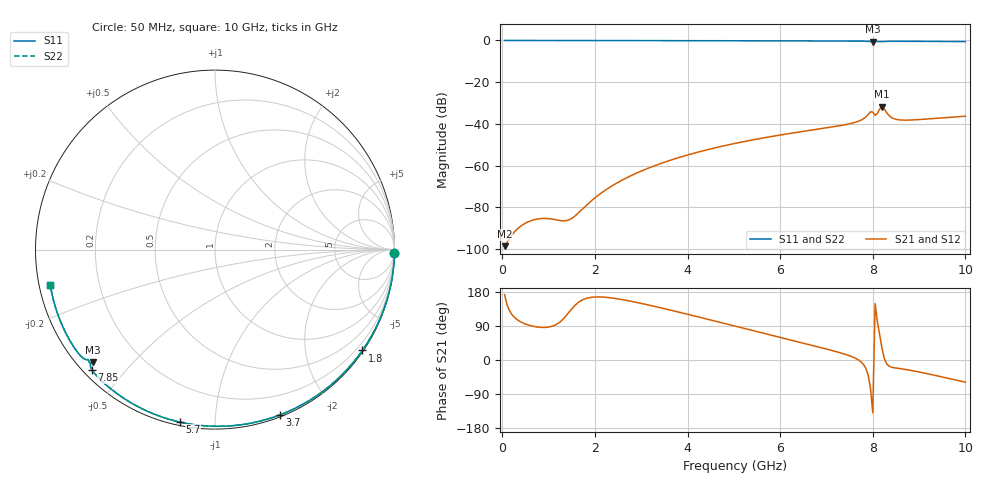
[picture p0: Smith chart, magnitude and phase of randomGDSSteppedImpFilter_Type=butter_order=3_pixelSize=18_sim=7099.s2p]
! freq	dB(S11)	phase(S11)	dB(S12)	phase(S12)
!  dB(S21)	phase(S21)	dB(S22)	phase(S22)
!S-par simulation data
#  GHz  S  DB  R 50
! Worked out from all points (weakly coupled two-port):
!   200 points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, 50 MHz to 10 GHz, reference 50 ohm
!   highest |S21| = -31.73 dB at 8.2 GHz (marker M1); lowest = -98.6 dB at 50 MHz (marker M2)
!   lowest |S11| = -0.7 dB at 8 GHz (marker M3), VSWR 26.44, Z = 2.18 - j19.5 ohm
!   |S11| at or under -10 dB: nowhere
!   |S22| runs from -0.7 to 0.0 dB; largest |S21 - S12| = 0
!   S11 on the Smith chart (normalised r, x): 50 MHz: open; 1.8 GHz: 0.03, -3.23; 3.7 GHz: 0.02, -1.47; 5.7 GHz: 0.02, -0.82; 7.85 GHz: 0.02, -0.41; 10 GHz: 0.03, -0.11
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0.05  -0.00 -1.0  -98.56 172.4  -98.56 172.4  -0.00 -1.0
0.85  -0.02 -16.4  -85.32 86.0  -85.32 86.0  -0.02 -16.4
1.75  -0.04 -33.4  -80.37 159.6  -80.37 159.6  -0.04 -33.4
1.8  -0.04 -34.4  -79.32 161.9  -79.32 161.9  -0.04 -34.4
2.15  -0.05 -40.8  -72.89 166.2  -72.89 166.2  -0.05 -40.8
2.5  -0.06 -47.2  -67.97 161.3  -67.97 161.3  -0.06 -47.2
2.9  -0.07 -54.5  -63.54 152.0  -63.54 152.0  -0.07 -54.5
3.4  -0.08 -63.3  -59.12 138.3  -59.12 138.3  -0.08 -63.3
3.7  -0.09 -68.5  -56.88 129.6  -56.88 129.6  -0.09 -68.5
5.05  -0.14 -91.1  -49.21 88.7  -49.21 88.7  -0.14 -91.1
5.7  -0.17 -101.5  -46.45 68.8  -46.45 68.8  -0.17 -101.5
6.7  -0.23 -117.2  -42.88 38.3  -42.88 38.3  -0.23 -117.2
7.55  -0.30 -130.4  -39.66 8.8  -39.66 8.8  -0.30 -130.4
7.85  -0.36 -135.6  -36.67 -22.0  -36.67 -22.0  -0.36 -135.6
7.95  -0.53 -137.5  -34.17 -74.1  -34.17 -74.1  -0.53 -137.5
8  -0.66 -137.3  -34.32 -139.3  -34.32 -139.3  -0.66 -137.3
8.05  -0.57 -137.4  -35.89 149.0  -35.89 149.0  -0.57 -137.3
8.2  -0.59 -139.1  -31.73 30.7  -31.73 30.7  -0.58 -139.1
8.35  -0.41 -141.2  -35.97 -16.1  -35.97 -16.1  -0.41 -141.3
8.5  -0.39 -143.9  -37.78 -21.3  -37.78 -21.3  -0.39 -143.9
8.7  -0.40 -147.1  -38.18 -24.8  -38.18 -24.8  -0.40 -147.1
10  -0.55 -168.0  -36.30 -58.6  -36.30 -58.6  -0.55 -168.0
